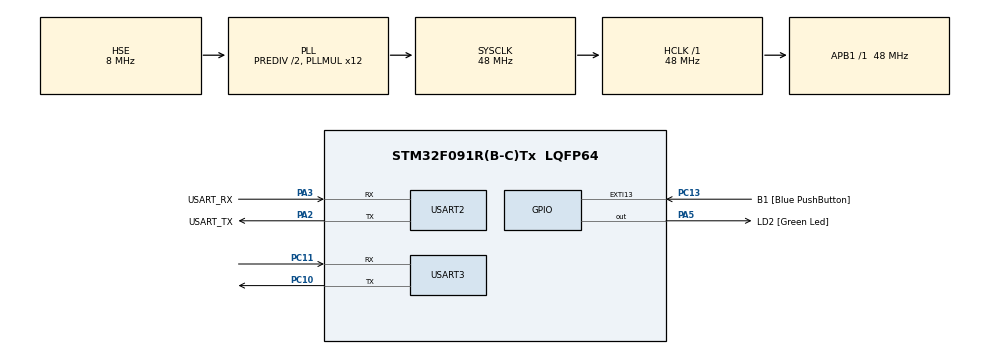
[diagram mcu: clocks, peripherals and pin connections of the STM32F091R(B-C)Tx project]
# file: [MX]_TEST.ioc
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Mcu.Family=STM32F0
Mcu.Name=STM32F091R(B-C)Tx
Mcu.Package=LQFP64
NVIC.EXTI4_15_IRQn=true\:0\:0\:false\:false\:true\:true\:true\:true
NVIC.USART2_IRQn=true\:0\:0\:false\:false\:true\:true\:true\:true
NVIC.USART3_8_IRQn=true\:0\:0\:false\:false\:true\:true\:true\:true
PA13.GPIO_Label=TMS
PA13.Mode=Serial_Wire
PA13.Signal=SYS_SWDIO
PA14.GPIO_Label=TCK
PA14.Mode=Serial_Wire
PA14.Signal=SYS_SWCLK
PA2.GPIO_Label=USART_TX
PA2.GPIO_Mode=GPIO_MODE_AF_PP
PA2.GPIO_PuPd=GPIO_NOPULL
PA2.GPIO_Speed=GPIO_SPEED_FREQ_LOW
PA2.Mode=Asynchronous
PA2.Signal=USART2_TX
PA3.GPIO_Label=USART_RX
PA3.GPIO_Mode=GPIO_MODE_AF_PP
PA3.GPIO_PuPd=GPIO_NOPULL
PA3.GPIO_Speed=GPIO_SPEED_FREQ_LOW
PA3.Mode=Asynchronous
PA3.Signal=USART2_RX
PA5.GPIO_Label=LD2 [Green Led]
PA5.GPIO_Mode=GPIO_MODE_OUTPUT_PP
PA5.GPIO_PuPd=GPIO_NOPULL
PA5.GPIO_Speed=GPIO_SPEED_FREQ_LOW
PA5.Signal=GPIO_Output
PC10.Mode=Asynchronous
PC10.Signal=USART3_TX
PC11.Mode=Asynchronous
PC11.Signal=USART3_RX
PC13.GPIO_Label=B1 [Blue PushButton]
PC13.GPIO_ModeDefaultEXTI=GPIO_MODE_IT_FALLING
PC13.Signal=GPXTI13
PC14OSC32_IN.Mode=LSE-External-Oscillator
PC14OSC32_IN.Signal=RCC_OSC32_IN
PC15OSC32_OUT.Mode=LSE-External-Oscillator
PC15OSC32_OUT.Signal=RCC_OSC32_OUT
PF0-OSC_IN.Mode=HSE-External-Clock-Source
PF0-OSC_IN.Signal=RCC_OSC_IN
PF1-OSC_OUT.Signal=RCC_OSC_OUT
ProjectManager.HeapSize=0x200
ProjectManager.StackSize=0x400
ProjectManager.TargetToolchain=STM32CubeIDE
RCC.AHBFreq_Value=48000000
RCC.APB1Freq_Value=48000000
RCC.APB1TimFreq_Value=48000000
RCC.FLatency-AdvancedSettings=FLASH_LATENCY_1
RCC.HCLKFreq_Value=48000000
RCC.PLLDivider=RCC_PREDIV_DIV2
RCC.PLLMUL=RCC_PLL_MUL12
RCC.PLLSourceVirtual=RCC_PLLSOURCE_HSE
RCC.PREFETCH_ENABLE-AdvancedSettings=1
RCC.SYSCLKFreq_VALUE=48000000
RCC.SYSCLKSource=RCC_SYSCLKSOURCE_PLLCLK
USART2.VirtualMode=VM_ASYNC
USART2.VirtualMode-Asynchronous=VM_ASYNC
USART3.VirtualMode-Asynchronous=VM_ASYNC
board=NUCLEO-F091RC

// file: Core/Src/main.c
/* USER CODE BEGIN Header */
/**
  ******************************************************************************
  * @file           : main.c
  * @brief          : Main program body
  ******************************************************************************
  * @attention
  *
  * Copyright (c) 2023 STMicroelectronics.
  * All rights reserved.
  *
  * This software is licensed under terms that can be found in the LICENSE file
  * in the root directory of this software component.
  * If no LICENSE file comes with this software, it is provided AS-IS.
  *
  ******************************************************************************
  */
/* USER CODE END Header */
#include "main.h"
#include "usart.h"
#include "gpio.h"

/* USER CODE BEGIN Includes */
#include <stdio.h>
/* USER CODE END Includes */

void SystemClock_Config(void);

/* USER CODE BEGIN 0 */
uint8_t arr[10] = {1,2,3,4,5,6,7,8,9,10};
char* str1 = "simdongsik";

// good, okay
#if 0
#ifdef __GNUC__
    #define PUTCHAR_PROTOTYPE int __io_putchar(int ch)
#else
    #define PUTCHAR_PROTOTYPE int fputc(int ch, FILE *f)
#endif

PUTCHAR_PROTOTYPE
{
  HAL_UART_Transmit(&huart2, (uint8_t *)&ch, 1, 0xFFFF);
  return ch;
}
#endif

// good, okay
#if 0
int __io_putchar(int ch)
{
	// if(HAL_UART_Transmit(&huart2, (uint8_t *)&ch, 1, 10) != HAL_OK)
	// 	return -1;
	HAL_UART_Transmit(&huart3, (uint8_t *)&ch, 1, 10);
	return ch;
}
#endif

// good, okay
#if 1
int _write(int file, char* p, int len)
{
    HAL_UART_Transmit_IT(&huart3, (uint8_t *)p, len);
    return len;
}
#endif
/* USER CODE END 0 */

int main(void)
{

  /* MCU Configuration--------------------------------------------------------*/

  /* Reset of all peripherals, Initializes the Flash interface and the Systick. */
  HAL_Init();

  /* Configure the system clock */
  SystemClock_Config();

  /* Initialize all configured peripherals */
  MX_GPIO_Init();
  MX_USART2_UART_Init();
  MX_USART3_UART_Init();
  /* USER CODE BEGIN 2 */
  HAL_GPIO_WritePin(GPIOA, GPIO_PIN_5, 1);
//  for (int i=0; i<10; i++)
//  {
//    // if (HAL_UART_Transmit(&huart2, &arr[i], 1, 1) != HAL_OK)
//    if (HAL_UART_Transmit_IT(&huart2, str1, 10) != HAL_OK)
//    {
//      while (1)
//      {
//        HAL_GPIO_TogglePin(GPIOA, GPIO_PIN_5);
//        HAL_Delay(500);
//      }
//    }
//  }
  printf("Hello dongsik \r\n");
  /* USER CODE END 2 */

  /* Infinite loop */
  while (1)
  {

  }
}

void SystemClock_Config(void)
{
  RCC_OscInitTypeDef RCC_OscInitStruct = {0};
  RCC_ClkInitTypeDef RCC_ClkInitStruct = {0};
  RCC_PeriphCLKInitTypeDef PeriphClkInit = {0};

  /** Initializes the RCC Oscillators according to the specified parameters
  * in the RCC_OscInitTypeDef structure.
  */
  RCC_OscInitStruct.OscillatorType = RCC_OSCILLATORTYPE_HSE;
  RCC_OscInitStruct.HSEState = RCC_HSE_BYPASS;
  RCC_OscInitStruct.PLL.PLLState = RCC_PLL_ON;
  RCC_OscInitStruct.PLL.PLLSource = RCC_PLLSOURCE_HSE;
  RCC_OscInitStruct.PLL.PLLMUL = RCC_PLL_MUL12;
  RCC_OscInitStruct.PLL.PREDIV = RCC_PREDIV_DIV2;
  if (HAL_RCC_OscConfig(&RCC_OscInitStruct) != HAL_OK)
  {
    Error_Handler();
  }

  /** Initializes the CPU, AHB and APB buses clocks
  */
  RCC_ClkInitStruct.ClockType = RCC_CLOCKTYPE_HCLK|RCC_CLOCKTYPE_SYSCLK
                              |RCC_CLOCKTYPE_PCLK1;
  RCC_ClkInitStruct.SYSCLKSource = RCC_SYSCLKSOURCE_PLLCLK;
  RCC_ClkInitStruct.AHBCLKDivider = RCC_SYSCLK_DIV1;
  RCC_ClkInitStruct.APB1CLKDivider = RCC_HCLK_DIV1;

  if (HAL_RCC_ClockConfig(&RCC_ClkInitStruct, FLASH_LATENCY_1) != HAL_OK)
  {
    Error_Handler();
  }
  PeriphClkInit.PeriphClockSelection = RCC_PERIPHCLK_USART3|RCC_PERIPHCLK_USART2;
  PeriphClkInit.Usart2ClockSelection = RCC_USART2CLKSOURCE_PCLK1;
  PeriphClkInit.Usart3ClockSelection = RCC_USART3CLKSOURCE_PCLK1;
  if (HAL_RCCEx_PeriphCLKConfig(&PeriphClkInit) != HAL_OK)
  {
    Error_Handler();
  }
}

void Error_Handler(void)
{
  __disable_irq();
  while (1)
  {
  }
}
